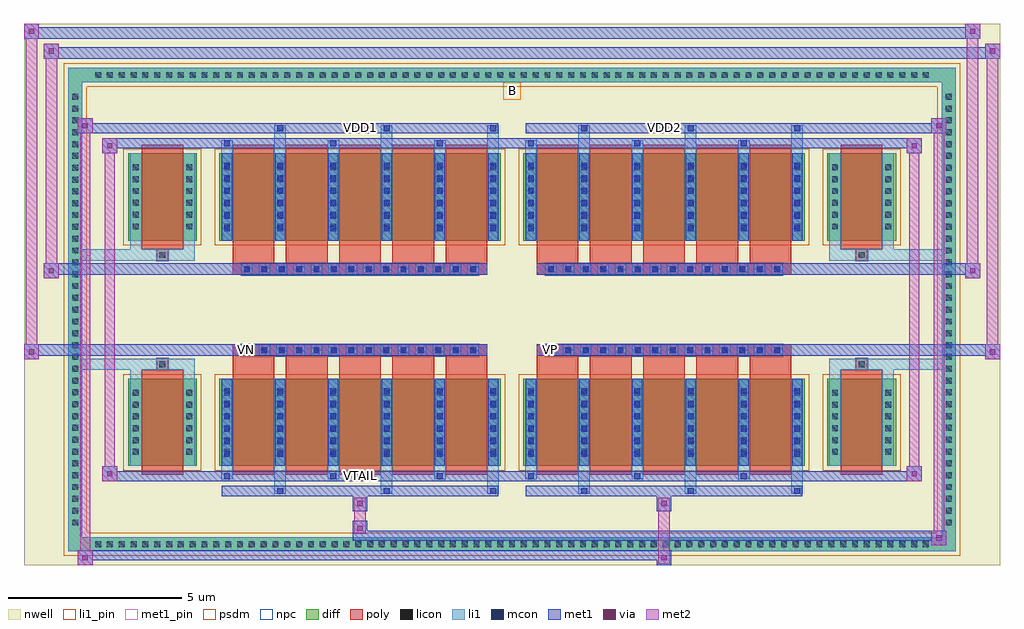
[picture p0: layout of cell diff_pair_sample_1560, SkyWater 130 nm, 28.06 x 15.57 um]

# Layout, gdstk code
import gdstk
lib = gdstk.Library(unit=1e-6, precision=5e-09)
def R(c, l, rs):  # rectangles x0, y0, x1, y1
    for r in rs: c.add(gdstk.rectangle(r[:2], r[2:], *l))
def A(c, l, x, y, w, h, nx, ny, dx, dy):  # array of equal rectangles
    R(c, l, [(x+i*dx, y+j*dy, x+i*dx+w, y+j*dy+h) for i in range(nx) for j in range(ny)])
def P(c, l, *ps):  # polygons
    for p in ps: c.add(gdstk.Polygon(p, *l))
nwell = (64, 20)
diff = (65, 20)
poly = (66, 20)
licon = (66, 44)
li1_pin = (67, 16)
li1 = (67, 20)
mcon = (67, 44)
met1_pin = (68, 16)
met1 = (68, 20)
via = (68, 44)
met2 = (69, 20)
psdm = (94, 20)
npc = (95, 20)

diff_pair_sample_1560 = lib.new_cell('diff_pair_sample_1560')
R(diff_pair_sample_1560, nwell, [(-14.03,-7.35,14.03,8.22), (-11.35,-5.54,-0.01,-0.8), (0.01,-5.54,11.35,-0.8), (-11.35,0.8,-0.01,5.54), (0.01,0.8,11.35,5.54)])
A(diff_pair_sample_1560, diff, -12.105, -6.95, 0.41, 0.41, 71, 2, 0.34, 13.49)
A(diff_pair_sample_1560, diff, -12.76, -6.325, 0.41, 0.41, 1, 37, 0, 0.34)
A(diff_pair_sample_1560, diff, 12.35, -6.325, 0.41, 0.41, 1, 37, 0, 0.34)
R(diff_pair_sample_1560, diff, [(-12.105,-6.95,12.105,-6.54), (-12.76,-6.325,-12.35,6.325), (12.35,-6.325,12.76,6.325), (-11.04,-4.495,-9.06,-1.985), (-8.42,-4.495,-0.32,-1.985), (0.32,-4.495,8.42,-1.985), (9.06,-4.495,11.04,-1.985), (-11.04,1.985,-9.06,4.495), (-8.42,1.985,-0.32,4.495), (0.32,1.985,8.42,4.495), (9.06,1.985,11.04,4.495), (-12.105,6.54,12.105,6.95)])
P(diff_pair_sample_1560, diff, [(12.76,6.95),(-12.76,6.95),(-12.76,-6.54),(-12.35,-6.54),(-12.35,6.54),(12.35,6.54),(12.35,-6.54),(-12.35,-6.54),(-12.76,-6.54),(-12.76,-6.95),(12.76,-6.95)])
A(diff_pair_sample_1560, poly, -8.03, -4.745, 1.2, 3.01, 5, 2, 1.53, 6.48)
A(diff_pair_sample_1560, poly, 0.71, -4.745, 1.2, 3.01, 5, 2, 1.53, 6.48)
A(diff_pair_sample_1560, poly, -8.03, -1.735, 1.2, 0.405, 5, 2, 1.53, 3.065)
A(diff_pair_sample_1560, poly, 0.71, -1.735, 1.2, 0.405, 5, 2, 1.53, 3.065)
A(diff_pair_sample_1560, poly, -7.785, -1.33, 0.33, 0.33, 14, 2, 0.5, 2.33)
A(diff_pair_sample_1560, poly, 0.955, -1.33, 0.33, 0.33, 14, 2, 0.5, 2.33)
R(diff_pair_sample_1560, poly, [(-10.65,-4.745,-9.45,-1.735), (9.45,-4.745,10.65,-1.735), (-10.215,-1.735,-9.885,-1.405), (-10.215,-1.735,-9.885,-1.405), (9.885,-1.735,10.215,-1.405), (9.885,-1.735,10.215,-1.405), (-8.03,-1.33,-0.71,-1), (0.71,-1.33,8.03,-1), (-8.03,1,-0.71,1.33), (0.71,1,8.03,1.33), (-10.215,1.405,-9.885,1.735), (-10.215,1.405,-9.885,1.735), (9.885,1.405,10.215,1.735), (9.885,1.405,10.215,1.735), (-10.65,1.735,-9.45,4.745), (9.45,1.735,10.65,4.745)])
A(diff_pair_sample_1560, licon, -11.985, -6.83, 0.17, 0.17, 71, 2, 0.34, 13.49)
A(diff_pair_sample_1560, licon, -12.64, -6.205, 0.17, 0.17, 1, 37, 0, 0.34)
A(diff_pair_sample_1560, licon, 12.47, -6.205, 0.17, 0.17, 1, 37, 0, 0.34)
A(diff_pair_sample_1560, licon, -10.9, -4.175, 0.17, 0.17, 1, 6, 0, 0.34)
A(diff_pair_sample_1560, licon, -9.37, -4.175, 0.17, 0.17, 1, 6, 0, 0.34)
A(diff_pair_sample_1560, licon, -8.28, -4.175, 0.17, 0.17, 6, 6, 1.53, 0.34)
A(diff_pair_sample_1560, licon, 0.46, -4.175, 0.17, 0.17, 6, 6, 1.53, 0.34)
A(diff_pair_sample_1560, licon, 9.2, -4.175, 0.17, 0.17, 1, 6, 0, 0.34)
A(diff_pair_sample_1560, licon, 10.73, -4.175, 0.17, 0.17, 1, 6, 0, 0.34)
A(diff_pair_sample_1560, licon, -7.705, -1.25, 0.17, 0.17, 14, 2, 0.5, 2.33)
A(diff_pair_sample_1560, licon, 1.035, -1.25, 0.17, 0.17, 14, 2, 0.5, 2.33)
A(diff_pair_sample_1560, licon, -10.9, 2.305, 0.17, 0.17, 1, 6, 0, 0.34)
A(diff_pair_sample_1560, licon, -9.37, 2.305, 0.17, 0.17, 1, 6, 0, 0.34)
A(diff_pair_sample_1560, licon, -8.28, 2.305, 0.17, 0.17, 6, 6, 1.53, 0.34)
A(diff_pair_sample_1560, licon, 0.46, 2.305, 0.17, 0.17, 6, 6, 1.53, 0.34)
A(diff_pair_sample_1560, licon, 9.2, 2.305, 0.17, 0.17, 1, 6, 0, 0.34)
A(diff_pair_sample_1560, licon, 10.73, 2.305, 0.17, 0.17, 1, 6, 0, 0.34)
R(diff_pair_sample_1560, licon, [(-10.135,-1.655,-9.965,-1.485), (9.965,-1.655,10.135,-1.485), (-10.135,1.485,-9.965,1.655), (9.965,1.485,10.135,1.655)])
R(diff_pair_sample_1560, li1_pin, [(-0.25,6.04,0.25,6.54)])
A(diff_pair_sample_1560, li1, -12.065, -6.91, 0.33, 0.33, 71, 2, 0.34, 13.49)
A(diff_pair_sample_1560, li1, -12.72, -6.285, 0.33, 0.33, 1, 37, 0, 0.34)
A(diff_pair_sample_1560, li1, 12.39, -6.285, 0.33, 0.33, 1, 37, 0, 0.34)
A(diff_pair_sample_1560, li1, -6.83, -5.3, 0.33, 0.805, 3, 2, 3.06, 9.795)
A(diff_pair_sample_1560, li1, -6.75, -5.3, 0.17, 0.17, 3, 2, 3.06, 10.43)
A(diff_pair_sample_1560, li1, 1.91, -5.3, 0.33, 0.805, 3, 2, 3.06, 9.795)
A(diff_pair_sample_1560, li1, 1.99, -5.3, 0.17, 0.17, 3, 2, 3.06, 10.43)
A(diff_pair_sample_1560, li1, -8.36, -4.87, 0.33, 0.375, 3, 2, 3.06, 9.365)
A(diff_pair_sample_1560, li1, -8.28, -4.87, 0.17, 0.17, 3, 2, 3.06, 9.57)
A(diff_pair_sample_1560, li1, 0.38, -4.87, 0.33, 0.375, 3, 2, 3.06, 9.365)
A(diff_pair_sample_1560, li1, 0.46, -4.87, 0.17, 0.17, 3, 2, 3.06, 9.57)
A(diff_pair_sample_1560, li1, -8.36, -4.495, 0.33, 2.51, 6, 2, 1.53, 6.48)
A(diff_pair_sample_1560, li1, 0.38, -4.495, 0.33, 2.51, 6, 2, 1.53, 6.48)
A(diff_pair_sample_1560, li1, -10.98, -4.255, 0.33, 0.33, 1, 6, 0, 0.34)
A(diff_pair_sample_1560, li1, -9.45, -4.255, 0.33, 0.33, 1, 6, 0, 0.34)
A(diff_pair_sample_1560, li1, -8.36, -4.255, 0.33, 0.33, 6, 6, 1.53, 0.34)
A(diff_pair_sample_1560, li1, 0.38, -4.255, 0.33, 0.33, 6, 6, 1.53, 0.34)
A(diff_pair_sample_1560, li1, 9.12, -4.255, 0.33, 0.33, 1, 6, 0, 0.34)
A(diff_pair_sample_1560, li1, 10.65, -4.255, 0.33, 0.33, 1, 6, 0, 0.34)
A(diff_pair_sample_1560, li1, -8.28, -4.225, 0.17, 0.17, 6, 6, 1.53, 0.36)
A(diff_pair_sample_1560, li1, -8.28, -4.225, 0.17, 1.97, 6, 2, 1.53, 6.48)
A(diff_pair_sample_1560, li1, 0.46, -4.225, 0.17, 0.17, 6, 6, 1.53, 0.36)
A(diff_pair_sample_1560, li1, 0.46, -4.225, 0.17, 1.97, 6, 2, 1.53, 6.48)
A(diff_pair_sample_1560, li1, -7.785, -1.33, 0.33, 0.33, 14, 2, 0.5, 2.33)
A(diff_pair_sample_1560, li1, 0.955, -1.33, 0.33, 0.33, 14, 2, 0.5, 2.33)
A(diff_pair_sample_1560, li1, -10.98, 2.225, 0.33, 0.33, 1, 6, 0, 0.34)
A(diff_pair_sample_1560, li1, -9.45, 2.225, 0.33, 0.33, 1, 6, 0, 0.34)
A(diff_pair_sample_1560, li1, -8.36, 2.225, 0.33, 0.33, 6, 6, 1.53, 0.34)
A(diff_pair_sample_1560, li1, 0.38, 2.225, 0.33, 0.33, 6, 6, 1.53, 0.34)
A(diff_pair_sample_1560, li1, 9.12, 2.225, 0.33, 0.33, 1, 6, 0, 0.34)
A(diff_pair_sample_1560, li1, 10.65, 2.225, 0.33, 0.33, 1, 6, 0, 0.34)
A(diff_pair_sample_1560, li1, -8.28, 2.255, 0.17, 0.17, 6, 6, 1.53, 0.36)
A(diff_pair_sample_1560, li1, 0.46, 2.255, 0.17, 0.17, 6, 6, 1.53, 0.36)
R(diff_pair_sample_1560, li1, [(-12.76,-6.95,-12.35,-6.54), (-12.76,-6.95,-12.35,-6.54), (-12.35,-6.95,12.35,-6.54), (12.35,-6.95,12.76,-6.54), (12.35,-6.95,12.76,-6.54), (-12.76,-6.54,-12.35,6.54), (12.35,-6.54,12.76,6.54), (-10.98,-4.495,-10.65,-1.985), (-9.45,-4.495,-9.12,-1.985), (9.12,-4.495,9.45,-1.985), (10.65,-4.495,10.98,-1.985), (-10.98,-1.985,-10.65,-1.405), (-9.45,-1.985,-9.12,-1.405), (9.12,-1.985,9.45,-1.405), (10.65,-1.985,10.98,-1.405), (-12.76,-1.735,-10.215,-1.405), (-10.98,-1.735,-10.215,-1.405), (-10.215,-1.735,-9.885,-1.405), (-9.885,-1.735,-9.12,-1.405), (9.12,-1.735,9.885,-1.405), (9.885,-1.735,10.215,-1.405), (9.885,-1.735,12.76,-1.405), (10.215,-1.735,10.98,-1.405), (-12.76,1.405,-10.215,1.735), (-10.98,1.405,-10.215,1.735), (-10.98,1.405,-10.65,1.985), (-10.215,1.405,-9.885,1.735), (-9.885,1.405,-9.12,1.735), (-9.45,1.405,-9.12,1.985), (9.12,1.405,9.885,1.735), (9.12,1.405,9.45,1.985), (9.885,1.405,10.215,1.735), (9.885,1.405,12.76,1.735), (10.215,1.405,10.98,1.735), (10.65,1.405,10.98,1.985), (-10.98,1.985,-10.65,4.495), (-9.45,1.985,-9.12,4.495), (9.12,1.985,9.45,4.495), (10.65,1.985,10.98,4.495), (-12.76,6.54,-12.35,6.95), (-12.76,6.54,-12.35,6.95), (-12.35,6.54,12.35,6.95), (12.35,6.54,12.76,6.95), (12.35,6.54,12.76,6.95)])
A(diff_pair_sample_1560, mcon, -6.75, -5.3, 0.17, 0.17, 3, 2, 3.06, 10.43)
A(diff_pair_sample_1560, mcon, 1.99, -5.3, 0.17, 0.17, 3, 2, 3.06, 10.43)
A(diff_pair_sample_1560, mcon, -8.28, -4.87, 0.17, 0.17, 3, 2, 3.06, 9.57)
A(diff_pair_sample_1560, mcon, 0.46, -4.87, 0.17, 0.17, 3, 2, 3.06, 9.57)
A(diff_pair_sample_1560, mcon, -8.28, -4.225, 0.17, 0.17, 6, 6, 1.53, 0.36)
A(diff_pair_sample_1560, mcon, 0.46, -4.225, 0.17, 0.17, 6, 6, 1.53, 0.36)
A(diff_pair_sample_1560, mcon, -7.705, -1.25, 0.17, 0.17, 14, 2, 0.5, 2.33)
A(diff_pair_sample_1560, mcon, 1.035, -1.25, 0.17, 0.17, 14, 2, 0.5, 2.33)
A(diff_pair_sample_1560, mcon, -8.28, 2.255, 0.17, 0.17, 6, 6, 1.53, 0.36)
A(diff_pair_sample_1560, mcon, 0.46, 2.255, 0.17, 0.17, 6, 6, 1.53, 0.36)
R(diff_pair_sample_1560, met1_pin, [(-4.505,-4.91,-4.235,-4.64), (-7.755,-1.29,-7.485,-1.02), (0.985,-1.29,1.255,-1.02), (-4.505,5.09,-4.235,5.36), (4.235,5.09,4.505,5.36)])
A(diff_pair_sample_1560, met1, -6.81, -5.36, 0.29, 0.29, 3, 2, 3.06, 10.43)
A(diff_pair_sample_1560, met1, 1.93, -5.36, 0.29, 0.29, 3, 2, 3.06, 10.43)
A(diff_pair_sample_1560, met1, -8.34, -4.93, 0.29, 0.29, 3, 2, 3.06, 9.57)
A(diff_pair_sample_1560, met1, 0.4, -4.93, 0.29, 0.29, 3, 2, 3.06, 9.57)
A(diff_pair_sample_1560, met1, -8.34, -4.495, 0.29, 2.51, 6, 2, 1.53, 6.48)
A(diff_pair_sample_1560, met1, 0.4, -4.495, 0.29, 2.51, 6, 2, 1.53, 6.48)
A(diff_pair_sample_1560, met1, -8.34, -4.285, 0.29, 0.29, 6, 6, 1.53, 0.36)
A(diff_pair_sample_1560, met1, 0.4, -4.285, 0.29, 0.29, 6, 6, 1.53, 0.36)
A(diff_pair_sample_1560, met1, -7.765, -1.31, 0.29, 0.29, 14, 2, 0.5, 2.33)
A(diff_pair_sample_1560, met1, 0.975, -1.31, 0.29, 0.29, 14, 2, 0.5, 2.33)
A(diff_pair_sample_1560, met1, -8.34, 2.195, 0.29, 0.29, 6, 6, 1.53, 0.36)
A(diff_pair_sample_1560, met1, 0.4, 2.195, 0.29, 0.29, 6, 6, 1.53, 0.36)
R(diff_pair_sample_1560, met1, [(-12.49,-7.35,-12.06,-6.92), (4.155,-7.35,4.585,-6.92), (-12.49,-7.21,4.585,-6.92), (12.06,-6.78,12.49,-6.35), (-4.585,-6.64,12.49,-6.35), (-4.585,-6.5,-4.155,-6.07), (-4.585,-5.79,-4.155,-5.36), (4.155,-5.79,4.585,-5.36), (-8.34,-5.36,-0.4,-5.07), (0.4,-5.36,8.34,-5.07), (-11.78,-4.93,-11.35,-4.5), (-11.78,-4.93,-8.34,-4.64), (-8.34,-4.93,-0.4,-4.64), (-0.4,-4.93,0.4,-4.64), (0.4,-4.93,8.34,-4.64), (8.34,-4.93,11.78,-4.64), (11.35,-4.93,11.78,-4.5), (-14.03,-1.43,-13.6,-1), (13.6,-1.43,14.03,-1), (-14.03,-1.33,-0.71,-1), (-8.03,-1.33,-0.71,-1), (0.71,-1.33,8.03,-1), (0.71,-1.33,14.03,-1), (-13.46,0.9,-13.03,1.33), (13.03,0.9,13.46,1.33), (-13.46,1,-8.03,1.33), (-8.03,1,-0.71,1.33), (0.71,1,8.03,1.33), (8.03,1,13.46,1.33), (-11.78,4.5,-11.35,4.93), (11.35,4.5,11.78,4.93), (-11.78,4.64,-8.34,4.93), (-8.34,4.64,-0.4,4.93), (-0.4,4.64,0.4,4.93), (0.4,4.64,8.34,4.93), (8.34,4.64,11.78,4.93), (-12.49,5.07,-12.06,5.5), (-12.49,5.07,-8.34,5.36), (-8.34,5.07,-0.4,5.36), (0.4,5.07,8.34,5.36), (8.34,5.07,12.49,5.36), (12.06,5.07,12.49,5.5), (-13.46,7.22,-13.03,7.65), (-13.46,7.22,-11.35,7.55), (-11.35,7.22,11.35,7.55), (11.35,7.22,14.03,7.55), (13.6,7.22,14.03,7.65), (-14.03,7.79,-13.6,8.22), (-14.03,7.79,-11.35,8.12), (-11.35,7.79,11.35,8.12), (11.35,7.79,13.46,8.12), (13.03,7.79,13.46,8.22)])
R(diff_pair_sample_1560, via, [(-12.35,-7.21,-12.2,-7.06), (4.295,-7.21,4.445,-7.06), (12.2,-6.64,12.35,-6.49), (-4.445,-6.36,-4.295,-6.21), (-4.445,-5.65,-4.295,-5.5), (4.295,-5.65,4.445,-5.5), (-11.64,-4.79,-11.49,-4.64), (11.49,-4.79,11.64,-4.64), (-13.89,-1.29,-13.74,-1.14), (13.74,-1.29,13.89,-1.14), (-13.32,1.04,-13.17,1.19), (13.17,1.04,13.32,1.19), (-11.64,4.64,-11.49,4.79), (11.49,4.64,11.64,4.79), (-12.35,5.21,-12.2,5.36), (12.2,5.21,12.35,5.36), (-13.32,7.36,-13.17,7.51), (13.74,7.36,13.89,7.51), (-13.89,7.93,-13.74,8.08), (13.17,7.93,13.32,8.08)])
R(diff_pair_sample_1560, met2, [(-12.49,-7.35,-12.06,-6.92), (-12.42,-7.35,-12.13,5.5), (-12.13,-7.35,-12.06,-6.92), (-12.44,-7.3,-12.11,-6.97), (4.205,-7.3,4.535,-6.97), (4.205,-6.97,4.535,-5.74), (12.06,-6.78,12.49,-6.35), (12.13,-6.78,12.42,5.5), (12.42,-6.78,12.49,-6.35), (12.11,-6.73,12.44,-6.4), (-4.535,-6.45,-4.205,-6.12), (-4.535,-6.12,-4.205,-5.74), (-4.535,-5.74,-4.205,-5.41), (4.205,-5.74,4.535,-5.41), (-11.78,-4.93,-11.35,-4.5), (-11.71,-4.93,-11.42,4.93), (-11.42,-4.93,-11.35,-4.5), (11.35,-4.93,11.78,-4.5), (11.42,-4.93,11.71,4.93), (11.71,-4.93,11.78,-4.5), (-11.73,-4.88,-11.4,-4.55), (11.4,-4.88,11.73,-4.55), (-14.03,-1.43,-13.6,-1), (-13.98,-1.43,-13.65,8.22), (-13.65,-1.43,-13.6,-1), (13.6,-1.43,14.03,-1), (13.65,-1.43,13.98,7.65), (13.98,-1.43,14.03,-1), (-13.98,-1.38,-13.65,-1.05), (13.65,-1.38,13.98,-1.05), (-13.46,0.9,-13.03,1.33), (-13.41,0.9,-13.08,7.65), (-13.08,0.9,-13.03,1.33), (13.03,0.9,13.46,1.33), (13.08,0.9,13.41,8.22), (13.41,0.9,13.46,1.33), (-13.41,0.95,-13.08,1.28), (13.08,0.95,13.41,1.28), (-11.78,4.5,-11.35,4.93), (-11.42,4.5,-11.35,4.93), (11.35,4.5,11.78,4.93), (11.71,4.5,11.78,4.93), (-11.73,4.55,-11.4,4.88), (11.4,4.55,11.73,4.88), (-12.49,5.07,-12.06,5.5), (-12.13,5.07,-12.06,5.5), (12.06,5.07,12.49,5.5), (12.42,5.07,12.49,5.5), (-12.44,5.12,-12.11,5.45), (12.11,5.12,12.44,5.45), (-13.46,7.22,-13.03,7.65), (-13.08,7.22,-13.03,7.65), (13.6,7.22,14.03,7.65), (13.98,7.22,14.03,7.65), (-13.41,7.27,-13.08,7.6), (13.65,7.27,13.98,7.6), (-14.03,7.79,-13.6,8.22), (-13.65,7.79,-13.6,8.22), (13.03,7.79,13.46,8.22), (13.41,7.79,13.46,8.22), (-13.98,7.84,-13.65,8.17), (13.08,7.84,13.41,8.17)])
R(diff_pair_sample_1560, psdm, [(-11.17,-4.625,-8.93,-1.855), (-8.55,-4.625,-0.19,-1.855), (0.19,-4.625,8.55,-1.855), (8.93,-4.625,11.17,-1.855), (-11.17,1.855,-8.93,4.625), (-8.55,1.855,-0.19,4.625), (0.19,1.855,8.55,4.625), (8.93,1.855,11.17,4.625)])
P(diff_pair_sample_1560, psdm, [(12.89,7.08),(-12.89,7.08),(-12.89,-6.41),(-12.22,-6.41),(-12.22,6.41),(12.22,6.41),(12.22,-6.41),(-12.22,-6.41),(-12.89,-6.41),(-12.89,-7.08),(12.89,-7.08)])
A(diff_pair_sample_1560, npc, -7.805, -1.35, 0.37, 0.37, 14, 2, 0.5, 2.33)
A(diff_pair_sample_1560, npc, 0.935, -1.35, 0.37, 0.37, 14, 2, 0.5, 2.33)
R(diff_pair_sample_1560, npc, [(-10.235,-1.755,-9.865,-1.385), (9.865,-1.755,10.235,-1.385), (-7.805,-1.35,-6.935,-0.98), (-7.805,-1.35,-6.935,-0.98), (-7.305,-1.35,-6.435,-0.98), (-7.305,-1.35,-6.435,-0.98), (-6.805,-1.35,-5.935,-0.98), (-6.805,-1.35,-5.935,-0.98), (-6.305,-1.35,-5.435,-0.98), (-6.305,-1.35,-5.435,-0.98), (-5.805,-1.35,-4.935,-0.98), (-5.805,-1.35,-4.935,-0.98), (-5.305,-1.35,-4.435,-0.98), (-5.305,-1.35,-4.435,-0.98), (-4.805,-1.35,-3.935,-0.98), (-4.805,-1.35,-3.935,-0.98), (-4.305,-1.35,-3.435,-0.98), (-4.305,-1.35,-3.435,-0.98), (-3.805,-1.35,-2.935,-0.98), (-3.805,-1.35,-2.935,-0.98), (-3.305,-1.35,-2.435,-0.98), (-3.305,-1.35,-2.435,-0.98), (-2.805,-1.35,-1.935,-0.98), (-2.805,-1.35,-1.935,-0.98), (-2.305,-1.35,-1.435,-0.98), (-2.305,-1.35,-1.435,-0.98), (-1.805,-1.35,-0.935,-0.98), (-1.805,-1.35,-0.935,-0.98), (0.935,-1.35,1.805,-0.98), (0.935,-1.35,1.805,-0.98), (1.435,-1.35,2.305,-0.98), (1.435,-1.35,2.305,-0.98), (1.935,-1.35,2.805,-0.98), (1.935,-1.35,2.805,-0.98), (2.435,-1.35,3.305,-0.98), (2.435,-1.35,3.305,-0.98), (2.935,-1.35,3.805,-0.98), (2.935,-1.35,3.805,-0.98), (3.435,-1.35,4.305,-0.98), (3.435,-1.35,4.305,-0.98), (3.935,-1.35,4.805,-0.98), (3.935,-1.35,4.805,-0.98), (4.435,-1.35,5.305,-0.98), (4.435,-1.35,5.305,-0.98), (4.935,-1.35,5.805,-0.98), (4.935,-1.35,5.805,-0.98), (5.435,-1.35,6.305,-0.98), (5.435,-1.35,6.305,-0.98), (5.935,-1.35,6.805,-0.98), (5.935,-1.35,6.805,-0.98), (6.435,-1.35,7.305,-0.98), (6.435,-1.35,7.305,-0.98), (6.935,-1.35,7.805,-0.98), (6.935,-1.35,7.805,-0.98), (-7.805,0.98,-6.935,1.35), (-7.805,0.98,-6.935,1.35), (-7.305,0.98,-6.435,1.35), (-7.305,0.98,-6.435,1.35), (-6.805,0.98,-5.935,1.35), (-6.805,0.98,-5.935,1.35), (-6.305,0.98,-5.435,1.35), (-6.305,0.98,-5.435,1.35), (-5.805,0.98,-4.935,1.35), (-5.805,0.98,-4.935,1.35), (-5.305,0.98,-4.435,1.35), (-5.305,0.98,-4.435,1.35), (-4.805,0.98,-3.935,1.35), (-4.805,0.98,-3.935,1.35), (-4.305,0.98,-3.435,1.35), (-4.305,0.98,-3.435,1.35), (-3.805,0.98,-2.935,1.35), (-3.805,0.98,-2.935,1.35), (-3.305,0.98,-2.435,1.35), (-3.305,0.98,-2.435,1.35), (-2.805,0.98,-1.935,1.35), (-2.805,0.98,-1.935,1.35), (-2.305,0.98,-1.435,1.35), (-2.305,0.98,-1.435,1.35), (-1.805,0.98,-0.935,1.35), (-1.805,0.98,-0.935,1.35), (0.935,0.98,1.805,1.35), (0.935,0.98,1.805,1.35), (1.435,0.98,2.305,1.35), (1.435,0.98,2.305,1.35), (1.935,0.98,2.805,1.35), (1.935,0.98,2.805,1.35), (2.435,0.98,3.305,1.35), (2.435,0.98,3.305,1.35), (2.935,0.98,3.805,1.35), (2.935,0.98,3.805,1.35), (3.435,0.98,4.305,1.35), (3.435,0.98,4.305,1.35), (3.935,0.98,4.805,1.35), (3.935,0.98,4.805,1.35), (4.435,0.98,5.305,1.35), (4.435,0.98,5.305,1.35), (4.935,0.98,5.805,1.35), (4.935,0.98,5.805,1.35), (5.435,0.98,6.305,1.35), (5.435,0.98,6.305,1.35), (5.935,0.98,6.805,1.35), (5.935,0.98,6.805,1.35), (6.435,0.98,7.305,1.35), (6.435,0.98,7.305,1.35), (6.935,0.98,7.805,1.35), (6.935,0.98,7.805,1.35), (-10.235,1.385,-9.865,1.755), (9.865,1.385,10.235,1.755)])
diff_pair_sample_1560.add(gdstk.Label('VTAIL', (-4.37,-4.775), layer=68, texttype=5))
diff_pair_sample_1560.add(gdstk.Label('VN', (-7.62,-1.155), layer=68, texttype=5))
diff_pair_sample_1560.add(gdstk.Label('VP', (1.12,-1.155), layer=68, texttype=5))
diff_pair_sample_1560.add(gdstk.Label('B', (0,6.29), layer=67, texttype=5))
diff_pair_sample_1560.add(gdstk.Label('VDD2', (4.37,5.225), layer=68, texttype=5))
diff_pair_sample_1560.add(gdstk.Label('VDD1', (-4.37,5.225), layer=68, texttype=5))

lib.write_gds('diff_pair_sample_1560.gds')
